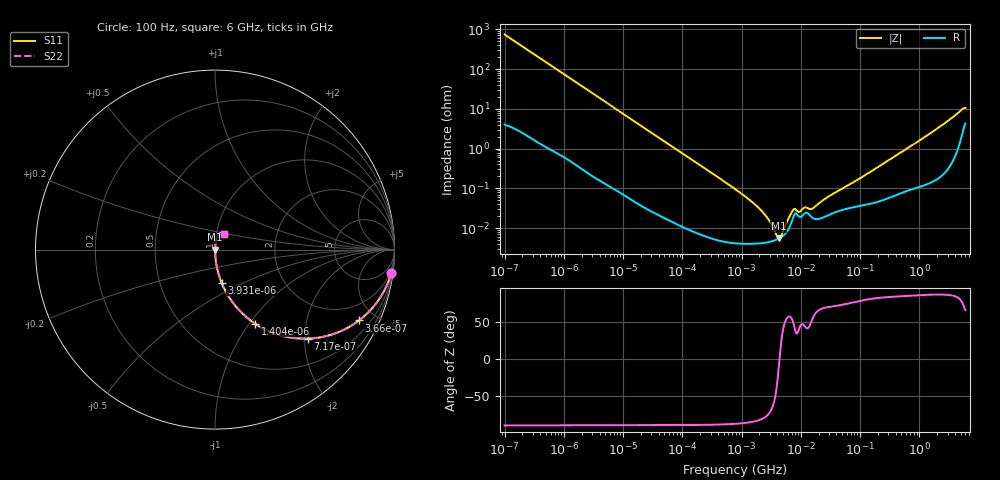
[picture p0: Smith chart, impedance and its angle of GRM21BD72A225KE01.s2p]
!Murata Part Number: GRM21BD72A225KE01
!These Parameters are Measured in Series Mode Connection
!Data Generated on Mar 30, 2021
!  o--ll--o
!Port1  Port2
!  o------o
!Operation Temp=25[degC], DC Bias Voltage=0[V]
!Freq. Start=100[Hz] Stop=6[GHz] 401[Steps]
# Hz S RI R 50
!Freq.(Hz) S11(Real) S11(Imag) S21(Real) S21(Imag) S12(Real) S12(Imag) S22(Real) S22(Imag)
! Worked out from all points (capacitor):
!   401 points, 100 Hz to 6 GHz, reference 50 ohm
!   read as one part in series: C = 2.15 uF near 109 Hz
!   lowest |Z| = 5.59 mohm at 4.246 MHz (marker M1)
!   series resonance near 4.366 MHz, so ESL is about 620 pH
!   S11 on the Smith chart (normalised r, x): 100 Hz: 1, -15; 366 Hz: 1.03, -4.05; 717 Hz: 1.02, -2.08; 1.404 kHz: 1.01, -1.06; 3.931 kHz: 1.00, -0.38; 6 GHz: 1.09, +0.19
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100  0.9813 -0.1329  0.0187 0.1329  0.0187 0.1329  0.9813 -0.1329
205  0.9275 -0.256  0.0725 0.256  0.0725 0.256  0.9275 -0.256
366  0.8023 -0.3947  0.1977 0.3947  0.1977 0.3947  0.8023 -0.3947
717  0.5185 -0.4958  0.4815 0.4958  0.4815 0.4958  0.5185 -0.4958
1404  0.2228 -0.4119  0.7772 0.4119  0.7772 0.4119  0.2228 -0.4119
2008  0.1241 -0.3256  0.8759 0.3256  0.8759 0.3256  0.1241 -0.3256
3931  0.0367 -0.1838  0.9633 0.1838  0.9633 0.1838  0.0367 -0.1838
10527  0.00578 -0.0713  0.9942 0.0713  0.9942 0.0713  0.00578 -0.0713
40335  0.000566 -0.0188  0.9994 0.0188  0.9994 0.0188  0.000566 -0.0188
774597  4.28e-05 -0.000968  1 0.000968  1 0.000968  4.28e-05 -0.000968
1983483  4.16e-05 -0.000313  1 0.000313  1 0.000313  4.16e-05 -0.000313
3549919  4.9e-05 -7.67e-05  1 7.67e-05  1 7.67e-05  4.9e-05 -7.67e-05
4246196  5.49e-05 -1.04e-05  0.9999 1.04e-05  0.9999 1.04e-05  5.49e-05 -1.04e-05
5311619  7e-05 7.75e-05  0.9999 -7.75e-05  0.9999 -7.75e-05  7e-05 7.75e-05
6948629  0.00014 0.000201  0.9999 -0.000201  0.9999 -0.000201  0.00014 0.000201
7599586  0.000205 0.000217  0.9998 -0.000217  0.9998 -0.000217  0.000205 0.000217
9506416  0.000193 0.000174  0.9998 -0.000174  0.9998 -0.000174  0.000193 0.000174
1.189169e7  0.000243 0.000229  0.9998 -0.000229  0.9998 -0.000229  0.000243 0.000229
1.555665e7  0.000186 0.00025  0.9998 -0.00025  0.9998 -0.00025  0.000186 0.00025
2.911731e7  0.000213 0.000585  0.9998 -0.000585  0.9998 -0.000585  0.000213 0.000585
3.124326e8  0.00061 0.00522  0.9994 -0.00522  0.9994 -0.00522  0.00061 0.00522
6e9  0.049 0.0867  0.951 -0.0867  0.951 -0.0867  0.049 0.0867
